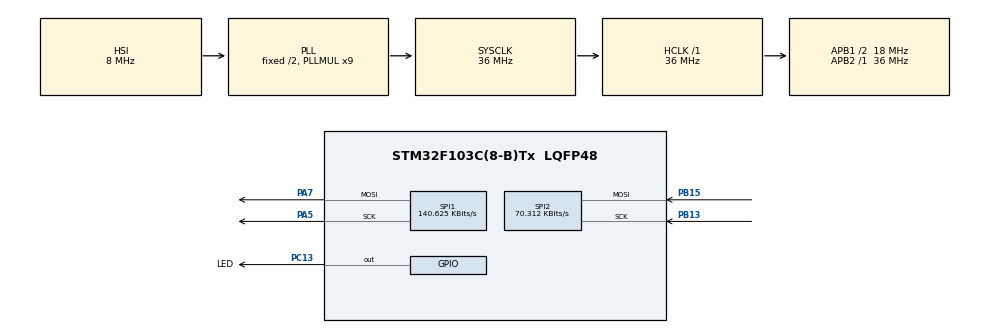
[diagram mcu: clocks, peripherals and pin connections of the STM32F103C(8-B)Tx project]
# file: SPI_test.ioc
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Mcu.Family=STM32F1
Mcu.Name=STM32F103C(8-B)Tx
Mcu.Package=LQFP48
NVIC.PriorityGroup=NVIC_PRIORITYGROUP_4
NVIC.SPI2_IRQn=true\:0\:0\:false\:false\:true\:true\:true
PA13.Mode=Serial_Wire
PA13.Signal=SYS_JTMS-SWDIO
PA14.Mode=Serial_Wire
PA14.Signal=SYS_JTCK-SWCLK
PA5.Mode=TX_Only_Simplex_Unidirect_Master
PA5.Signal=SPI1_SCK
PA7.Mode=TX_Only_Simplex_Unidirect_Master
PA7.Signal=SPI1_MOSI
PB13.Mode=RX_Only_Simplex_Unidirect_Slave
PB13.Signal=SPI2_SCK
PB15.Mode=RX_Only_Simplex_Unidirect_Slave
PB15.Signal=SPI2_MOSI
PC13-TAMPER-RTC.GPIO_Label=LED
PC13-TAMPER-RTC.Signal=GPIO_Output
ProjectManager.HeapSize=0x200
ProjectManager.StackSize=0x400
ProjectManager.TargetToolchain=STM32CubeIDE
RCC.AHBFreq_Value=36000000
RCC.APB1CLKDivider=RCC_HCLK_DIV2
RCC.APB1Freq_Value=18000000
RCC.APB1TimFreq_Value=36000000
RCC.APB2Freq_Value=36000000
RCC.APB2TimFreq_Value=36000000
RCC.HCLKFreq_Value=36000000
RCC.PLLMUL=RCC_PLL_MUL9
RCC.SYSCLKFreq_VALUE=36000000
RCC.SYSCLKSource=RCC_SYSCLKSOURCE_PLLCLK
RCC.USBFreq_Value=36000000
SPI1.BaudRatePrescaler=SPI_BAUDRATEPRESCALER_256
SPI1.CalculateBaudRate=140.625 KBits/s
SPI1.Direction=SPI_DIRECTION_2LINES
SPI1.Mode=SPI_MODE_MASTER
SPI1.VirtualType=VM_MASTER
SPI2.BaudRatePrescaler=SPI_BAUDRATEPRESCALER_256
SPI2.CalculateBaudRate=70.312 KBits/s
SPI2.Direction=SPI_DIRECTION_2LINES_RXONLY
SPI2.Mode=SPI_MODE_SLAVE
SPI2.VirtualType=VM_SLAVE
board=custom

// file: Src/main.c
/* USER CODE BEGIN Header */
/**
  ******************************************************************************
  * @file           : main.c
  * @brief          : Main program body
  ******************************************************************************
  * @attention
  *
  * <h2><center>&copy; Copyright (c) 2021 STMicroelectronics.
  * All rights reserved.</center></h2>
  *
  * This software component is licensed by ST under BSD 3-Clause license,
  * the "License"; You may not use this file except in compliance with the
  * License. You may obtain a copy of the License at:
  *                        opensource.org/licenses/BSD-3-Clause
  *
  ******************************************************************************
  */
/* USER CODE END Header */
#include "main.h"

SPI_HandleTypeDef hspi1;
SPI_HandleTypeDef hspi2;

void SystemClock_Config(void);
static void MX_GPIO_Init(void);
static void MX_SPI1_Init(void);
static void MX_SPI2_Init(void);

/* USER CODE BEGIN 0 */
uint8_t data_rx = 0;

void led_on()
{
  HAL_GPIO_WritePin(LED_GPIO_Port, LED_Pin, GPIO_PIN_RESET);
}

void led_off()
{
  HAL_GPIO_WritePin(LED_GPIO_Port, LED_Pin, GPIO_PIN_SET);
}

void led_toggle()
{
  HAL_GPIO_TogglePin(LED_GPIO_Port, LED_Pin);
}

long int count = 0;

void HAL_SPI_RxCpltCallback(SPI_HandleTypeDef *hspi)
//void HAL_SPI_TxRxCpltCallback(SPI_HandleTypeDef *hspi)
//void HAL_SPI_MasterTxCpltCallback(SPI_HandleTypeDef *hspi)
{
  if(hspi == &hspi2)
  {
    // if(!hspi1.TxXferCount && !fl)
    // {
    //   fl=1;
    // }
//    led_toggle();
//    count++;
  }
  count++;
//  led_on();
  led_toggle();
}

void HAL_SPI_ErrorCallback(SPI_HandleTypeDef *hspi)
{
//   led_on();
}

/* USER CODE END 0 */

int main(void)
{

  /* MCU Configuration--------------------------------------------------------*/

  /* Reset of all peripherals, Initializes the Flash interface and the Systick. */
  HAL_Init();

  /* Configure the system clock */
  SystemClock_Config();

  /* Initialize all configured peripherals */
  MX_GPIO_Init();
  MX_SPI1_Init();
  MX_SPI2_Init();
  /* USER CODE BEGIN 2 */
  uint8_t data_tx = 100;

  led_on();
  HAL_Delay(2000);
  led_off();
  HAL_Delay(1000);

  HAL_SPI_Receive_IT(&hspi2, &data_rx, sizeof(data_rx));
  /* USER CODE END 2 */

  /* Infinite loop */
  /* USER CODE BEGIN WHILE */
  while (1)
  {
	HAL_SPI_Transmit(&hspi1, &data_tx, sizeof(data_tx), 100);
	data_tx++;
	if (data_tx > 110)
	{
		data_tx = 100;
	}

	//led_toggle();
	HAL_Delay(500);
    /* USER CODE END WHILE */

  }
}

void SystemClock_Config(void)
{
  RCC_OscInitTypeDef RCC_OscInitStruct = {0};
  RCC_ClkInitTypeDef RCC_ClkInitStruct = {0};

  /** Initializes the RCC Oscillators according to the specified parameters
  * in the RCC_OscInitTypeDef structure.
  */
  RCC_OscInitStruct.OscillatorType = RCC_OSCILLATORTYPE_HSI;
  RCC_OscInitStruct.HSIState = RCC_HSI_ON;
  RCC_OscInitStruct.HSICalibrationValue = RCC_HSICALIBRATION_DEFAULT;
  RCC_OscInitStruct.PLL.PLLState = RCC_PLL_ON;
  RCC_OscInitStruct.PLL.PLLSource = RCC_PLLSOURCE_HSI_DIV2;
  RCC_OscInitStruct.PLL.PLLMUL = RCC_PLL_MUL9;
  if (HAL_RCC_OscConfig(&RCC_OscInitStruct) != HAL_OK)
  {
    Error_Handler();
  }
  /** Initializes the CPU, AHB and APB buses clocks
  */
  RCC_ClkInitStruct.ClockType = RCC_CLOCKTYPE_HCLK|RCC_CLOCKTYPE_SYSCLK
                              |RCC_CLOCKTYPE_PCLK1|RCC_CLOCKTYPE_PCLK2;
  RCC_ClkInitStruct.SYSCLKSource = RCC_SYSCLKSOURCE_PLLCLK;
  RCC_ClkInitStruct.AHBCLKDivider = RCC_SYSCLK_DIV1;
  RCC_ClkInitStruct.APB1CLKDivider = RCC_HCLK_DIV2;
  RCC_ClkInitStruct.APB2CLKDivider = RCC_HCLK_DIV1;

  if (HAL_RCC_ClockConfig(&RCC_ClkInitStruct, FLASH_LATENCY_1) != HAL_OK)
  {
    Error_Handler();
  }
}

static void MX_SPI1_Init(void)
{

  /* SPI1 parameter configuration*/
  hspi1.Instance = SPI1;
  hspi1.Init.Mode = SPI_MODE_MASTER;
  hspi1.Init.Direction = SPI_DIRECTION_2LINES;
  hspi1.Init.DataSize = SPI_DATASIZE_8BIT;
  hspi1.Init.CLKPolarity = SPI_POLARITY_LOW;
  hspi1.Init.CLKPhase = SPI_PHASE_1EDGE;
  hspi1.Init.NSS = SPI_NSS_SOFT;
  hspi1.Init.BaudRatePrescaler = SPI_BAUDRATEPRESCALER_256;
  hspi1.Init.FirstBit = SPI_FIRSTBIT_MSB;
  hspi1.Init.TIMode = SPI_TIMODE_DISABLE;
  hspi1.Init.CRCCalculation = SPI_CRCCALCULATION_DISABLE;
  hspi1.Init.CRCPolynomial = 10;
  if (HAL_SPI_Init(&hspi1) != HAL_OK)
  {
    Error_Handler();
  }

}

static void MX_SPI2_Init(void)
{

  /* SPI2 parameter configuration*/
  hspi2.Instance = SPI2;
  hspi2.Init.Mode = SPI_MODE_SLAVE;
  hspi2.Init.Direction = SPI_DIRECTION_2LINES_RXONLY;
  hspi2.Init.DataSize = SPI_DATASIZE_8BIT;
  hspi2.Init.CLKPolarity = SPI_POLARITY_LOW;
  hspi2.Init.CLKPhase = SPI_PHASE_1EDGE;
  hspi2.Init.NSS = SPI_NSS_SOFT;
  hspi2.Init.BaudRatePrescaler = SPI_BAUDRATEPRESCALER_256;
  hspi2.Init.FirstBit = SPI_FIRSTBIT_MSB;
  hspi2.Init.TIMode = SPI_TIMODE_DISABLE;
  hspi2.Init.CRCCalculation = SPI_CRCCALCULATION_DISABLE;
  hspi2.Init.CRCPolynomial = 10;
  if (HAL_SPI_Init(&hspi2) != HAL_OK)
  {
    Error_Handler();
  }

}

static void MX_GPIO_Init(void)
{
  GPIO_InitTypeDef GPIO_InitStruct = {0};

  /* GPIO Ports Clock Enable */
  __HAL_RCC_GPIOC_CLK_ENABLE();
  __HAL_RCC_GPIOA_CLK_ENABLE();
  __HAL_RCC_GPIOB_CLK_ENABLE();

  /*Configure GPIO pin Output Level */
  HAL_GPIO_WritePin(LED_GPIO_Port, LED_Pin, GPIO_PIN_RESET);

  /*Configure GPIO pin : LED_Pin */
  GPIO_InitStruct.Pin = LED_Pin;
  GPIO_InitStruct.Mode = GPIO_MODE_OUTPUT_PP;
  GPIO_InitStruct.Pull = GPIO_NOPULL;
  GPIO_InitStruct.Speed = GPIO_SPEED_FREQ_LOW;
  HAL_GPIO_Init(LED_GPIO_Port, &GPIO_InitStruct);

}

void Error_Handler(void)
{
  __disable_irq();
  while (1)
  {
  }
}

/************************ (C) COPYRIGHT STMicroelectronics *****END OF FILE****/
